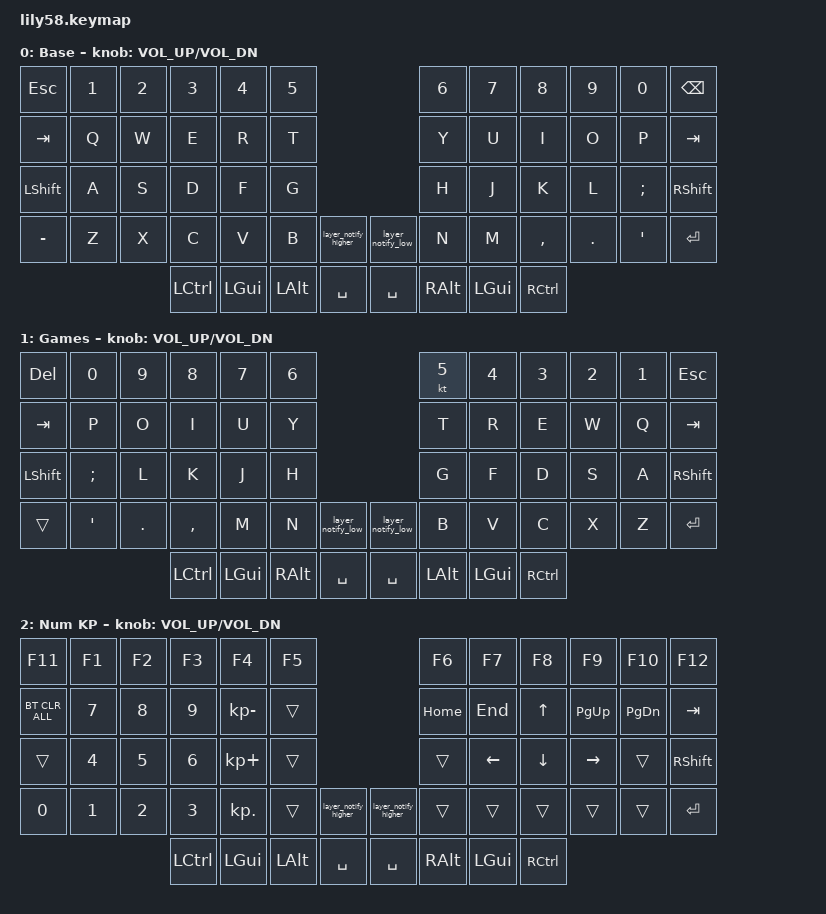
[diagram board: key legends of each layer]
/*
 * Copyright (c) 2020 The ZMK Contributors
 *
 * SPDX-License-Identifier: MIT
 */

#include <behaviors.dtsi>
#include <dt-bindings/zmk/bt.h>
#include <dt-bindings/zmk/keys.h>

/ {
    macros {
        layer_notify_low: layer_notify {
            compatible = "zmk,behavior-macro";
            #binding-cells = <0>;
            bindings = <&kp F24 &tog 1>;
            label = "LAYER_NOTIFY";
        };

        layer_notify_higher: layer_notify_higher {
            compatible = "zmk,behavior-macro";
            #binding-cells = <0>;
            bindings = <&kp F23 &tog 2>;
            label = "LAYER_NOTIFY_HIGHER";
        };
    };

    keymap {
        compatible = "zmk,keymap";

        default_layer {
            // ------------------------------------------------------------------------------------------------------------
            // |  ESC  |  1  |  2  |  3   |  4   |  5   |                   |  6   |  7    |  8    |  9   |   0   |   `   |
            // |  TAB  |  Q  |  W  |  E   |  R   |  T   |                   |  Y   |  U    |  I    |  O   |   P   |   -   |
            // |  CTRL |  A  |  S  |  D   |  F   |  G   |                   |  H   |  J    |  K    |  L   |   ;   |   '   |
            // | SHIFT |  Z  |  X  |  C   |  V   |  B   |   "["  |  |  "]"  |  N   |  M    |  ,    |  .   |   /   | SHIFT |
            //                     | ALT  | GUI  | LOWER|  SPACE |  | ENTER | RAISE| BSPC  | GUI   |

            display-name = "Base";
            bindings = <
&kp ESC         &kp N1  &kp N2  &kp N3            &kp N4    &kp N5                                                   &kp N6         &kp N7        &kp N8     &kp N9      &kp N0         &kp BACKSPACE
&kp TAB         &kp Q   &kp W   &kp E             &kp R     &kp T                                                    &kp Y          &kp U         &kp I      &kp O       &kp P          &kp TAB
&kp LEFT_SHIFT  &kp A   &kp S   &kp D             &kp F     &kp G                                                    &kp H          &kp J         &kp K      &kp L       &kp SEMICOLON  &kp RIGHT_SHIFT
&kp MINUS       &kp Z   &kp X   &kp C             &kp V     &kp B         &layer_notify_higher    &layer_notify_low  &kp N          &kp M         &kp COMMA  &kp PERIOD  &kp SQT        &kp ENTER
                                &kp LEFT_CONTROL  &kp LGUI  &kp LEFT_ALT  &kp SPACE               &kp SPACE          &kp RIGHT_ALT  &kp LEFT_GUI  &kp RCTRL
            >;

            sensor-bindings = <&inc_dec_kp C_VOL_UP C_VOL_DN>;
        };

        lower_layer {
            // ------------------------------------------------------------------------------------------------------------
            // | BTCLR | BT1 | BT2 |  BT3 |  BT4 |  BT5 |                   |      |       |       |      |       |       |
            // |  F1   |  F2 |  F3 |  F4  |  F5  |  F6  |                   |  F7  |  F8   |  F9   |  F10 |  F11  |  F12  |
            // |   `   |  !  |  @  |  #   |  $   |  %   |                   |  ^   |  &    |  *    |  (   |   )   |   ~   |
            // |       |     |     |      |      |      |        |  |       |      |  _    |  +    |  {   |   }   |  "|"  |
            //                     |      |      |      |        |  |       |      |       |       |

            display-name = "Games";
            bindings = <
&kp DELETE      &kp N0         &kp N9      &kp N8            &kp N7        &kp NUMBER_6                                           &kt N5        &kp NUMBER_4  &kp NUMBER_3  &kp NUMBER_2  &kp NUMBER_1  &kp ESCAPE
&kp TAB         &kp P          &kp O       &kp I             &kp U         &kp Y                                                  &kp T         &kp R         &kp E         &kp W         &kp Q         &kp TAB
&kp LEFT_SHIFT  &kp SEMICOLON  &kp L       &kp K             &kp J         &kp H                                                  &kp G         &kp F         &kp D         &kp S         &kp A         &kp RIGHT_SHIFT
&trans          &kp SQT        &kp PERIOD  &kp COMMA         &kp M         &kp N          &layer_notify_low    &layer_notify_low  &kp B         &kp V         &kp C         &kp X         &kp Z         &kp ENTER
                                           &kp LEFT_CONTROL  &kp LEFT_GUI  &kp RIGHT_ALT  &kp SPACE            &kp SPACE          &kp LEFT_ALT  &kp LEFT_GUI  &kp RCTRL
            >;

            sensor-bindings = <&inc_dec_kp C_VOL_UP C_VOL_DN>;
        };

        raise_layer {
            // ------------------------------------------------------------------------------------------------------------
            // |       |     |     |      |      |      |                   |      |       |       |      |       |       |
            // |   `   |  1  |  2  |  3   |  4   |  5   |                   |  6   |   7   |   8   |  9   |   0   |       |
            // |   F1  |  F2 |  F3 |  F4  |  F5  |  F6  |                   |      |   <-  |   v   |  ^   |  ->   |       |
            // |   F7  |  F8 |  F9 |  F10 |  F11 |  F12 |        |  |       |  +   |   -   |   =   |  [   |   ]   |   \   |
            //                     |      |      |      |        |  |       |      |       |       |

            display-name = "Num KP";
            bindings = <
&kp F11         &kp F1        &kp F2        &kp F3        &kp F4        &kp F5                                                      &kp F6         &kp F7        &kp F8     &kp F9     &kp F10        &kp F12
&bt BT_CLR_ALL  &kp N7        &kp N8        &kp N9        &kp KP_MINUS  &trans                                                      &kp HOME       &kp END       &kp UP     &kp PG_UP  &kp PAGE_DOWN  &kp TAB
&trans          &kp NUMBER_4  &kp N5        &kp NUMBER_6  &kp KP_PLUS   &trans                                                      &trans         &kp LEFT      &kp DOWN   &kp RIGHT  &trans         &kp RIGHT_SHIFT
&kp N0          &kp NUMBER_1  &kp NUMBER_2  &kp NUMBER_3  &kp KP_DOT    &trans        &layer_notify_higher    &layer_notify_higher  &trans         &trans        &trans     &trans     &trans         &kp ENTER
                                            &kp LCTRL     &kp LEFT_GUI  &kp LEFT_ALT  &kp SPACE               &kp SPACE             &kp RIGHT_ALT  &kp LEFT_GUI  &kp RCTRL
            >;

            sensor-bindings = <&inc_dec_kp C_VOL_UP C_VOL_DN>;
        };

        extra_1 { status = "reserved"; };

        extra_2 { status = "reserved"; };

        extra_3 { status = "reserved"; };
    };
};
